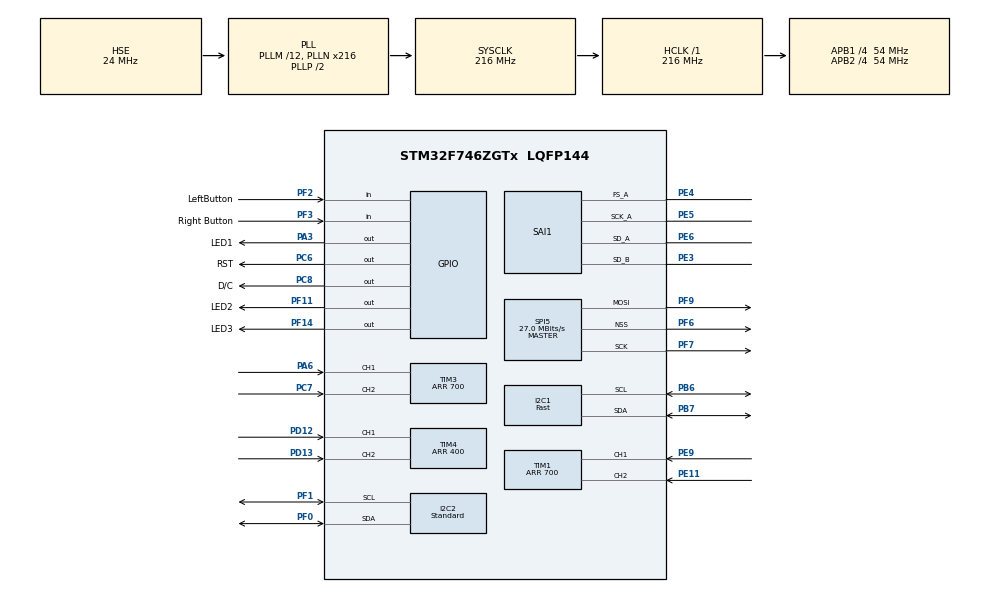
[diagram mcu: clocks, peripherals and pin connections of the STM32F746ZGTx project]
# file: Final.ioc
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Dma.Request0=SPI5_TX
Dma.Request1=SAI1_A
Dma.Request2=SAI1_B
Dma.SAI1_A.1.Direction=DMA_PERIPH_TO_MEMORY
Dma.SAI1_A.1.FIFOMode=DMA_FIFOMODE_DISABLE
Dma.SAI1_A.1.Instance=DMA2_Stream1
Dma.SAI1_A.1.MemDataAlignment=DMA_MDATAALIGN_HALFWORD
Dma.SAI1_A.1.MemInc=DMA_MINC_ENABLE
Dma.SAI1_A.1.Mode=DMA_CIRCULAR
Dma.SAI1_A.1.PeriphDataAlignment=DMA_PDATAALIGN_HALFWORD
Dma.SAI1_A.1.PeriphInc=DMA_PINC_DISABLE
Dma.SAI1_A.1.Priority=DMA_PRIORITY_VERY_HIGH
Dma.SAI1_B.2.Direction=DMA_MEMORY_TO_PERIPH
Dma.SAI1_B.2.FIFOMode=DMA_FIFOMODE_DISABLE
Dma.SAI1_B.2.Instance=DMA2_Stream5
Dma.SAI1_B.2.MemDataAlignment=DMA_MDATAALIGN_HALFWORD
Dma.SAI1_B.2.MemInc=DMA_MINC_ENABLE
Dma.SAI1_B.2.Mode=DMA_CIRCULAR
Dma.SAI1_B.2.PeriphDataAlignment=DMA_PDATAALIGN_HALFWORD
Dma.SAI1_B.2.PeriphInc=DMA_PINC_DISABLE
Dma.SAI1_B.2.Priority=DMA_PRIORITY_VERY_HIGH
Dma.SPI5_TX.0.Direction=DMA_MEMORY_TO_PERIPH
Dma.SPI5_TX.0.FIFOMode=DMA_FIFOMODE_ENABLE
Dma.SPI5_TX.0.FIFOThreshold=DMA_FIFO_THRESHOLD_FULL
Dma.SPI5_TX.0.Instance=DMA2_Stream4
Dma.SPI5_TX.0.MemBurst=DMA_MBURST_SINGLE
Dma.SPI5_TX.0.MemDataAlignment=DMA_MDATAALIGN_BYTE
Dma.SPI5_TX.0.MemInc=DMA_MINC_ENABLE
Dma.SPI5_TX.0.Mode=DMA_NORMAL
Dma.SPI5_TX.0.PeriphBurst=DMA_PBURST_SINGLE
Dma.SPI5_TX.0.PeriphDataAlignment=DMA_PDATAALIGN_BYTE
Dma.SPI5_TX.0.PeriphInc=DMA_PINC_DISABLE
Dma.SPI5_TX.0.Priority=DMA_PRIORITY_LOW
I2C1.I2C_Speed_Mode=I2C_Fast
I2C1.Timing=0x6000030D
I2C2.I2C_Speed_Mode=I2C_Standard
I2C2.Speed=100
I2C2.Timing=0x20404768
Mcu.Family=STM32F7
Mcu.Name=STM32F746ZGTx
Mcu.Package=LQFP144
NVIC.DMA2_Stream1_IRQn=true\:0\:0\:false\:false\:true\:false\:true\:true
NVIC.DMA2_Stream4_IRQn=true\:0\:0\:false\:false\:true\:false\:true\:true
NVIC.DMA2_Stream5_IRQn=true\:0\:0\:false\:false\:true\:false\:true\:true
NVIC.PriorityGroup=NVIC_PRIORITYGROUP_4
NVIC.RCC_IRQn=true\:0\:0\:false\:false\:true\:true\:false\:true
NVIC.TIM2_IRQn=true\:0\:0\:false\:false\:true\:true\:true\:true
NVIC.TIM8_TRG_COM_TIM14_IRQn=true\:0\:0\:false\:false\:true\:true\:true\:true
PA13.Mode=Serial_Wire
PA13.Signal=SYS_JTMS-SWDIO
PA14.Mode=Serial_Wire
PA14.Signal=SYS_JTCK-SWCLK
PA3.GPIO_Label=LED1
PA3.Signal=GPIO_Output
PA6.Signal=S_TIM3_CH1
PB6.GPIO_Pu=GPIO_PULLUP
PB6.Mode=I2C
PB6.Signal=I2C1_SCL
PB7.GPIO_Pu=GPIO_PULLUP
PB7.Mode=I2C
PB7.Signal=I2C1_SDA
PC3.Signal=SPI2_MOSI
PC6.GPIO_Label=RST
PC6.Signal=GPIO_Output
PC7.Signal=S_TIM3_CH2
PC8.GPIO_Label=D/C
PC8.Signal=GPIO_Output
PD12.Signal=S_TIM4_CH1
PD13.Signal=S_TIM4_CH2
PE11.Signal=S_TIM1_CH2
PE3.Mode=SAI_B_SyncSlave
PE3.Signal=SAI1_SD_B
PE4.Mode=SAI_A_AsyncSlave
PE4.Signal=SAI1_FS_A
PE5.Mode=SAI_A_AsyncSlave
PE5.Signal=SAI1_SCK_A
PE6.Mode=SAI_A_AsyncSlave
PE6.Signal=SAI1_SD_A
PE9.Signal=S_TIM1_CH1
PF0.GPIO_Pu=GPIO_NOPULL
PF0.Mode=I2C
PF0.Signal=I2C2_SDA
PF1.GPIO_Pu=GPIO_NOPULL
PF1.Mode=I2C
PF1.Signal=I2C2_SCL
PF11.GPIO_Label=LED2
PF11.Signal=GPIO_Output
PF14.GPIO_Label=LED3
PF14.Signal=GPIO_Output
PF2.GPIO_Label=LeftButton
PF2.Signal=GPIO_Input
PF3.GPIO_Label=Right Button
PF3.Signal=GPIO_Input
PF6.Mode=NSS_Signal_Hard_Output
PF6.Signal=SPI5_NSS
PF7.Mode=TX_Only_Simplex_Unidirect_Master
PF7.Signal=SPI5_SCK
PF9.Mode=TX_Only_Simplex_Unidirect_Master
PF9.Signal=SPI5_MOSI
PH0/OSC_IN.Mode=HSE-External-Oscillator
PH0/OSC_IN.Signal=RCC_OSC_IN
PH1/OSC_OUT.Mode=HSE-External-Oscillator
PH1/OSC_OUT.Signal=RCC_OSC_OUT
ProjectManager.HeapSize=0x2000
ProjectManager.StackSize=0x4000
ProjectManager.TargetToolchain=STM32CubeIDE
RCC.AHBFreq_Value=216000000
RCC.APB1CLKDivider=RCC_HCLK_DIV4
RCC.APB1Freq_Value=54000000
RCC.APB1TimFreq_Value=108000000
RCC.APB2CLKDivider=RCC_HCLK_DIV4
RCC.APB2Freq_Value=54000000
RCC.APB2TimFreq_Value=108000000
RCC.CortexFreq_Value=216000000
RCC.EnbaleCSS=true
RCC.HCLKFreq_Value=216000000
RCC.HSE_VALUE=24000000
RCC.HSI_VALUE=16000000
RCC.LSE_VALUE=32768
RCC.PLLM=12
RCC.PLLN=216
RCC.PLLSAIN=98
RCC.PLLSourceVirtual=RCC_PLLSOURCE_HSE
RCC.SYSCLKFreq_VALUE=216000000
RCC.SYSCLKSource=RCC_SYSCLKSOURCE_PLLCLK
RCC.USBFreq_Value=216000000
RCC.VCOOutputFreq_Value=432000000
SAI1.AudioMode-SAI_B_SyncSlave=SAI_MODESLAVE_TX
SAI1.InitProtocol-SAI_A_AsyncSlave=Enable
SAI1.InitProtocol-SAI_B_SyncSlave=Enable
SAI1.Instance-SAI_A_AsyncSlave=SAI$Index_Block_A
SAI1.Instance-SAI_B_SyncSlave=SAI$Index_Block_B
SAI1.VirtualMode-SAI_A_AsyncSlave=VM_SLAVE
SAI1.VirtualMode-SAI_B_SyncSlave=VM_SLAVE
SAI1.VirtualProtocol-SAI_A_BASIC=VM_BASIC_PROTOCOL
SAI1.VirtualProtocol-SAI_B_BASIC=VM_BASIC_PROTOCOL
SH.S_TIM1_CH1.0=TIM1_CH1,Encoder_Interface
SH.S_TIM1_CH2.0=TIM1_CH2,Encoder_Interface
SH.S_TIM3_CH1.0=TIM3_CH1,Encoder_Interface
SH.S_TIM3_CH2.0=TIM3_CH2,Encoder_Interface
SH.S_TIM4_CH1.0=TIM4_CH1,Encoder_Interface
SH.S_TIM4_CH2.0=TIM4_CH2,Encoder_Interface
SPI5.BaudRatePrescaler=SPI_BAUDRATEPRESCALER_2
SPI5.CalculateBaudRate=27.0 MBits/s
SPI5.DataSize=SPI_DATASIZE_8BIT
SPI5.Direction=SPI_DIRECTION_2LINES
SPI5.Mode=SPI_MODE_MASTER
SPI5.VirtualNSS=VM_NSSHARD
SPI5.VirtualType=VM_MASTER
STMicroelectronics.X-CUBE-TOUCHGFX.4.23.0.ApplicationCcGraphicsJjApplication=TouchGFXOoGenerator
STMicroelectronics.X-CUBE-TOUCHGFX.4.23.0.tgfx_buffering_strategy=Partial
STMicroelectronics.X-CUBE-TOUCHGFX.4.23.0.tgfx_custom_height=240
STMicroelectronics.X-CUBE-TOUCHGFX.4.23.0.tgfx_custom_width=320
STMicroelectronics.X-CUBE-TOUCHGFX.4.23.0_IsPackSelfContextualization=true
TIM1.AutoReloadPreload=TIM_AUTORELOAD_PRELOAD_ENABLE
TIM1.CounterMode=TIM_COUNTERMODE_UP
TIM1.EncoderMode=TIM_ENCODERMODE_TI12
TIM1.IC1Filter=10
TIM1.IC2Filter=10
TIM1.Period=700
TIM14.AutoReloadPreload=TIM_AUTORELOAD_PRELOAD_ENABLE
TIM14.Period=2000
TIM2.CounterMode=TIM_COUNTERMODE_UP
TIM2.Period=16667-1
TIM2.Prescaler=216-1
TIM3.AutoReloadPreload=TIM_AUTORELOAD_PRELOAD_ENABLE
TIM3.CounterMode=TIM_COUNTERMODE_UP
TIM3.EncoderMode=TIM_ENCODERMODE_TI12
TIM3.IC1Filter=10
TIM3.IC2Filter=10
TIM3.Period=700
TIM4.AutoReloadPreload=TIM_AUTORELOAD_PRELOAD_ENABLE
TIM4.CounterMode=TIM_COUNTERMODE_UP
TIM4.EncoderMode=TIM_ENCODERMODE_TI12
TIM4.IC1Filter=10
TIM4.IC2Filter=10
TIM4.Period=400
VP_CRC_VS_CRC.Mode=CRC_Activate
VP_SAI1_VP_$IpInstance_SAIA_SAI_BASIC.Mode=SAI_A_BASIC
VP_SAI1_VP_$IpInstance_SAIB_SAI_BASIC.Mode=SAI_B_BASIC
VP_STMicroelectronics.X-CUBE-TOUCHGFX_VS_GraphicsJjApplication_4.23.0.Mode=GraphicsJjApplication
VP_TIM14_VS_ClockSourceINT.Mode=Enable_Timer
VP_TIM2_VS_ClockSourceINT.Mode=Internal
board=custom

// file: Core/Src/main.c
/* USER CODE BEGIN Header */
/**
  ******************************************************************************
  * @file           : main.c
  * @brief          : Main program body
  ******************************************************************************
  * @attention
  *
  * Copyright (c) 2024 STMicroelectronics.
  * All rights reserved.
  *
  * This software is licensed under terms that can be found in the LICENSE file
  * in the root directory of this software component.
  * If no LICENSE file comes with this software, it is provided AS-IS.
  *
  ******************************************************************************
  */
/* USER CODE END Header */
#include "main.h"
#include "app_touchgfx.h"

/* USER CODE BEGIN Includes */
#include "wm8731.h"
#include "stdio.h"
#include "audioFX.h"
#include "filters.h"
#include "delay.h"
#include "distort.h"
#include "ili9341.h"
#include "trig_functions.h"
/* USER CODE END Includes */

CRC_HandleTypeDef hcrc;

I2C_HandleTypeDef hi2c1;
I2C_HandleTypeDef hi2c2;

SAI_HandleTypeDef hsai_BlockA1;
SAI_HandleTypeDef hsai_BlockB1;
DMA_HandleTypeDef hdma_sai1_a;
DMA_HandleTypeDef hdma_sai1_b;

SPI_HandleTypeDef hspi5;
DMA_HandleTypeDef hdma_spi5_tx;

TIM_HandleTypeDef htim1;
TIM_HandleTypeDef htim2;
TIM_HandleTypeDef htim3;
TIM_HandleTypeDef htim4;
TIM_HandleTypeDef htim14;

/* USER CODE BEGIN PV */
int select = 0; //LED Select
int state[2] = {0, 0}; //States for LR Buttons
int tDelay[3] = {50,50,50}; //Delays from Counters
int ConfLvl[2] = {0,0};
int ConfT = 750;

// DMA buffers
int16_t audio_in[AUDIOFX_BUFF_SIZE];
int16_t audio_out[AUDIOFX_BUFF_SIZE];

int16_t* p_in_buff;
int16_t* p_out_buff;

// change fx flag
uint8_t change_fx_flag;

// parameter change variables
uint16_t timer_count[3];

FILTERS_Params f_p0;
FILTERS_Params f_p1;
FILTERS_Params f_p2;
FILTERS_Params f_p3;
FILTERS_Params f_p4;

DELAY_Params dl_p;

DISTORT_Params ds_p;

AUDIOFX_Type curr_fx;

uint8_t update_flags;
/* USER CODE END PV */

void SystemClock_Config(void);
void PeriphCommonClock_Config(void);
static void MX_GPIO_Init(void);
static void MX_DMA_Init(void);
static void MX_TIM14_Init(void);
static void MX_TIM3_Init(void);
static void MX_TIM4_Init(void);
static void MX_CRC_Init(void);
static void MX_TIM1_Init(void);
static void MX_TIM2_Init(void);
static void MX_I2C1_Init(void);
static void MX_SPI5_Init(void);
static void MX_I2C2_Init(void);
static void MX_SAI1_Init(void);
/* USER CODE BEGIN PFP */

int _write(int file, char *ptr, int len)
{
  /* Implement your write code here. This is
     used by puts and printf for example */
  int i=0;
  for(i=0 ; i<len ; i++)
    ITM_SendChar((*ptr++));
  return len;
}

/* USER CODE END PFP */

/* USER CODE BEGIN 0 */
void HAL_SAI_RxHalfCpltCallback(SAI_HandleTypeDef *hsai) {
	if(hsai->Instance == SAI1_Block_A){
		p_in_buff	= &audio_in[0];
		p_out_buff 	= &audio_out[0];

		AUDIOFX_Apply_FX_Chain();
	}
}

void HAL_SAI_RxCpltCallback(SAI_HandleTypeDef *hsai) {
	if(hsai->Instance == SAI1_Block_A){
		p_in_buff	= &audio_in[AUDIOFX_BUFF_SIZE/2];
		p_out_buff 	= &audio_out[AUDIOFX_BUFF_SIZE/2];

		AUDIOFX_Apply_FX_Chain();
	}
}

static void Param_Change(){
	// Check that counter is in the accepted range
	if(TIM1->CNT > AUDIOFX_CNTR_MAX) {
		TIM1->CNT = AUDIOFX_CNTR_MAX;
	}
	else if(TIM1->CNT < AUDIOFX_CNTR_MIN) {
		TIM1->CNT = AUDIOFX_CNTR_MIN;
	}

	if(TIM3->CNT > AUDIOFX_CNTR_MAX) {
		TIM3->CNT = AUDIOFX_CNTR_MAX;
	}
	else if(TIM3->CNT < AUDIOFX_CNTR_MIN) {
		TIM3->CNT = AUDIOFX_CNTR_MIN;
	}

	if(TIM4->CNT > AUDIOFX_CNTR_MAX) {
		TIM4->CNT = AUDIOFX_CNTR_MAX;
	}
	else if(TIM4->CNT < AUDIOFX_CNTR_MIN) {
		TIM4->CNT = AUDIOFX_CNTR_MIN;
	}

	// check for difference in timer values
	if(TIM1->CNT != timer_count[0] || TIM3->CNT != timer_count[1] || TIM4->CNT != timer_count[2]) {
		// store counter values
		timer_count[0] = TIM1->CNT;
		timer_count[1] = TIM3->CNT;
		timer_count[2] = TIM4->CNT;

		AUDIOFX_SetParams(curr_fx);
	}
}

static void FX_Change() {
	if(HAL_GPIO_ReadPin(GPIOF, GPIO_PIN_2) == 1){
		ConfLvl[0]++;
		if(ConfLvl[0] > ConfT){
			while(HAL_GPIO_ReadPin(GPIOF, GPIO_PIN_2) == 1)
			ConfLvl[0] = 0;
			AUDIOFX_SwitchFX(0);
		}
	}
	if(HAL_GPIO_ReadPin(GPIOF, GPIO_PIN_3) == 1){
		ConfLvl[1]++;
		if(ConfLvl[1] > ConfT){
			while(HAL_GPIO_ReadPin(GPIOF, GPIO_PIN_3) == 1)
			ConfLvl[1] = 0;
			AUDIOFX_SwitchFX(1);
		}
	}

	// check if we changed current FX using touch screen
	if(change_fx_flag) {
		AUDIOFX_UpdateCounters();
		change_fx_flag = 0;
	}
}

/* USER CODE END 0 */

int main(void)
{

  /* MCU Configuration--------------------------------------------------------*/

  /* Reset of all peripherals, Initializes the Flash interface and the Systick. */
  HAL_Init();

  /* Configure the system clock */
  SystemClock_Config();

/* Configure the peripherals common clocks */
  PeriphCommonClock_Config();

  /* Initialize all configured peripherals */
  MX_GPIO_Init();
  MX_DMA_Init();
  MX_TIM14_Init();
  MX_TIM3_Init();
  MX_TIM4_Init();
  MX_CRC_Init();
  MX_TIM1_Init();
  MX_TIM2_Init();
  MX_I2C1_Init();
  MX_SPI5_Init();
  MX_I2C2_Init();
  MX_SAI1_Init();
  MX_TouchGFX_Init();
  /* USER CODE BEGIN 2 */

  update_flags 	= 0;
  curr_fx 	  	= AUDIOFX_FILTER0;

  FILTERS_Init(&f_p0);
  FILTERS_Init(&f_p1);
  FILTERS_Init(&f_p2);
  FILTERS_Init(&f_p3);
  FILTERS_Init(&f_p4);

  DELAY_Init(&dl_p);
  DISTORT_Init(&ds_p);

  ILI9341_Init();
  WM8731_Init();

//  HAL_GPIO_TogglePin(GPIOF, GPIO_PIN_11);

  HAL_SAI_Receive_DMA(&hsai_BlockA1, (uint8_t*) audio_in, AUDIOFX_BUFF_SIZE);
  HAL_SAI_Transmit_DMA(&hsai_BlockB1, (uint8_t*) audio_out, AUDIOFX_BUFF_SIZE);

  HAL_TIM_Base_Start_IT(&htim2);

  HAL_TIM_Encoder_Start(&htim1, TIM_CHANNEL_ALL);
  HAL_TIM_Encoder_Start(&htim3, TIM_CHANNEL_ALL);
  HAL_TIM_Encoder_Start(&htim4, TIM_CHANNEL_ALL);

  AUDIOFX_UpdateCounters();
  /* USER CODE END 2 */

  /* Infinite loop */
  while (1)
  {

  MX_TouchGFX_Process();
    /* USER CODE BEGIN 3 */
  FX_Change();
  Param_Change();
  }
  /* USER CODE END 3 */
}

void SystemClock_Config(void)
{
  RCC_OscInitTypeDef RCC_OscInitStruct = {0};
  RCC_ClkInitTypeDef RCC_ClkInitStruct = {0};

  /** Configure the main internal regulator output voltage
  */
  __HAL_RCC_PWR_CLK_ENABLE();
  __HAL_PWR_VOLTAGESCALING_CONFIG(PWR_REGULATOR_VOLTAGE_SCALE1);

  /** Initializes the RCC Oscillators according to the specified parameters
  * in the RCC_OscInitTypeDef structure.
  */
  RCC_OscInitStruct.OscillatorType = RCC_OSCILLATORTYPE_HSE;
  RCC_OscInitStruct.HSEState = RCC_HSE_ON;
  RCC_OscInitStruct.PLL.PLLState = RCC_PLL_ON;
  RCC_OscInitStruct.PLL.PLLSource = RCC_PLLSOURCE_HSE;
  RCC_OscInitStruct.PLL.PLLM = 12;
  RCC_OscInitStruct.PLL.PLLN = 216;
  RCC_OscInitStruct.PLL.PLLP = RCC_PLLP_DIV2;
  RCC_OscInitStruct.PLL.PLLQ = 2;
  if (HAL_RCC_OscConfig(&RCC_OscInitStruct) != HAL_OK)
  {
    Error_Handler();
  }

  /** Activate the Over-Drive mode
  */
  if (HAL_PWREx_EnableOverDrive() != HAL_OK)
  {
    Error_Handler();
  }

  /** Initializes the CPU, AHB and APB buses clocks
  */
  RCC_ClkInitStruct.ClockType = RCC_CLOCKTYPE_HCLK|RCC_CLOCKTYPE_SYSCLK
                              |RCC_CLOCKTYPE_PCLK1|RCC_CLOCKTYPE_PCLK2;
  RCC_ClkInitStruct.SYSCLKSource = RCC_SYSCLKSOURCE_PLLCLK;
  RCC_ClkInitStruct.AHBCLKDivider = RCC_SYSCLK_DIV1;
  RCC_ClkInitStruct.APB1CLKDivider = RCC_HCLK_DIV4;
  RCC_ClkInitStruct.APB2CLKDivider = RCC_HCLK_DIV4;

  if (HAL_RCC_ClockConfig(&RCC_ClkInitStruct, FLASH_LATENCY_7) != HAL_OK)
  {
    Error_Handler();
  }

  /** Enables the Clock Security System
  */
  HAL_RCC_EnableCSS();
}

void PeriphCommonClock_Config(void)
{
  RCC_PeriphCLKInitTypeDef PeriphClkInitStruct = {0};

  /** Initializes the peripherals clock
  */
  PeriphClkInitStruct.PeriphClockSelection = RCC_PERIPHCLK_SAI1;
  PeriphClkInitStruct.PLLSAI.PLLSAIN = 98;
  PeriphClkInitStruct.PLLSAI.PLLSAIR = 2;
  PeriphClkInitStruct.PLLSAI.PLLSAIQ = 2;
  PeriphClkInitStruct.PLLSAI.PLLSAIP = RCC_PLLSAIP_DIV2;
  PeriphClkInitStruct.PLLSAIDivQ = 1;
  PeriphClkInitStruct.PLLSAIDivR = RCC_PLLSAIDIVR_2;
  PeriphClkInitStruct.Sai1ClockSelection = RCC_SAI1CLKSOURCE_PLLSAI;
  if (HAL_RCCEx_PeriphCLKConfig(&PeriphClkInitStruct) != HAL_OK)
  {
    Error_Handler();
  }
}

static void MX_CRC_Init(void)
{

  hcrc.Instance = CRC;
  hcrc.Init.DefaultPolynomialUse = DEFAULT_POLYNOMIAL_ENABLE;
  hcrc.Init.DefaultInitValueUse = DEFAULT_INIT_VALUE_ENABLE;
  hcrc.Init.InputDataInversionMode = CRC_INPUTDATA_INVERSION_NONE;
  hcrc.Init.OutputDataInversionMode = CRC_OUTPUTDATA_INVERSION_DISABLE;
  hcrc.InputDataFormat = CRC_INPUTDATA_FORMAT_BYTES;
  if (HAL_CRC_Init(&hcrc) != HAL_OK)
  {
    Error_Handler();
  }

}

static void MX_I2C1_Init(void)
{

  hi2c1.Instance = I2C1;
  hi2c1.Init.Timing = 0x6000030D;
  hi2c1.Init.OwnAddress1 = 0;
  hi2c1.Init.AddressingMode = I2C_ADDRESSINGMODE_7BIT;
  hi2c1.Init.DualAddressMode = I2C_DUALADDRESS_DISABLE;
  hi2c1.Init.OwnAddress2 = 0;
  hi2c1.Init.OwnAddress2Masks = I2C_OA2_NOMASK;
  hi2c1.Init.GeneralCallMode = I2C_GENERALCALL_DISABLE;
  hi2c1.Init.NoStretchMode = I2C_NOSTRETCH_DISABLE;
  if (HAL_I2C_Init(&hi2c1) != HAL_OK)
  {
    Error_Handler();
  }

  /** Configure Analogue filter
  */
  if (HAL_I2CEx_ConfigAnalogFilter(&hi2c1, I2C_ANALOGFILTER_ENABLE) != HAL_OK)
  {
    Error_Handler();
  }

  /** Configure Digital filter
  */
  if (HAL_I2CEx_ConfigDigitalFilter(&hi2c1, 0) != HAL_OK)
  {
    Error_Handler();
  }

}

static void MX_I2C2_Init(void)
{

  hi2c2.Instance = I2C2;
  hi2c2.Init.Timing = 0x20404768;
  hi2c2.Init.OwnAddress1 = 0;
  hi2c2.Init.AddressingMode = I2C_ADDRESSINGMODE_7BIT;
  hi2c2.Init.DualAddressMode = I2C_DUALADDRESS_DISABLE;
  hi2c2.Init.OwnAddress2 = 0;
  hi2c2.Init.OwnAddress2Masks = I2C_OA2_NOMASK;
  hi2c2.Init.GeneralCallMode = I2C_GENERALCALL_DISABLE;
  hi2c2.Init.NoStretchMode = I2C_NOSTRETCH_DISABLE;
  if (HAL_I2C_Init(&hi2c2) != HAL_OK)
  {
    Error_Handler();
  }

  /** Configure Analogue filter
  */
  if (HAL_I2CEx_ConfigAnalogFilter(&hi2c2, I2C_ANALOGFILTER_ENABLE) != HAL_OK)
  {
    Error_Handler();
  }

  /** Configure Digital filter
  */
  if (HAL_I2CEx_ConfigDigitalFilter(&hi2c2, 0) != HAL_OK)
  {
    Error_Handler();
  }

}

static void MX_SAI1_Init(void)
{

  hsai_BlockA1.Instance = SAI1_Block_A;
  hsai_BlockA1.Init.AudioMode = SAI_MODESLAVE_RX;
  hsai_BlockA1.Init.Synchro = SAI_ASYNCHRONOUS;
  hsai_BlockA1.Init.OutputDrive = SAI_OUTPUTDRIVE_DISABLE;
  hsai_BlockA1.Init.FIFOThreshold = SAI_FIFOTHRESHOLD_EMPTY;
  hsai_BlockA1.Init.SynchroExt = SAI_SYNCEXT_DISABLE;
  hsai_BlockA1.Init.MonoStereoMode = SAI_STEREOMODE;
  hsai_BlockA1.Init.CompandingMode = SAI_NOCOMPANDING;
  hsai_BlockA1.Init.TriState = SAI_OUTPUT_NOTRELEASED;
  if (HAL_SAI_InitProtocol(&hsai_BlockA1, SAI_I2S_STANDARD, SAI_PROTOCOL_DATASIZE_16BIT, 2) != HAL_OK)
  {
    Error_Handler();
  }
  hsai_BlockB1.Instance = SAI1_Block_B;
  hsai_BlockB1.Init.AudioMode = SAI_MODESLAVE_TX;
  hsai_BlockB1.Init.Synchro = SAI_SYNCHRONOUS;
  hsai_BlockB1.Init.OutputDrive = SAI_OUTPUTDRIVE_DISABLE;
  hsai_BlockB1.Init.FIFOThreshold = SAI_FIFOTHRESHOLD_EMPTY;
  hsai_BlockB1.Init.SynchroExt = SAI_SYNCEXT_DISABLE;
  hsai_BlockB1.Init.MonoStereoMode = SAI_STEREOMODE;
  hsai_BlockB1.Init.CompandingMode = SAI_NOCOMPANDING;
  hsai_BlockB1.Init.TriState = SAI_OUTPUT_NOTRELEASED;
  if (HAL_SAI_InitProtocol(&hsai_BlockB1, SAI_I2S_STANDARD, SAI_PROTOCOL_DATASIZE_16BIT, 2) != HAL_OK)
  {
    Error_Handler();
  }

}

static void MX_SPI5_Init(void)
{

  /* SPI5 parameter configuration*/
  hspi5.Instance = SPI5;
  hspi5.Init.Mode = SPI_MODE_MASTER;
  hspi5.Init.Direction = SPI_DIRECTION_2LINES;
  hspi5.Init.DataSize = SPI_DATASIZE_8BIT;
  hspi5.Init.CLKPolarity = SPI_POLARITY_LOW;
  hspi5.Init.CLKPhase = SPI_PHASE_1EDGE;
  hspi5.Init.NSS = SPI_NSS_HARD_OUTPUT;
  hspi5.Init.BaudRatePrescaler = SPI_BAUDRATEPRESCALER_2;
  hspi5.Init.FirstBit = SPI_FIRSTBIT_MSB;
  hspi5.Init.TIMode = SPI_TIMODE_DISABLE;
  hspi5.Init.CRCCalculation = SPI_CRCCALCULATION_DISABLE;
  hspi5.Init.CRCPolynomial = 7;
  hspi5.Init.CRCLength = SPI_CRC_LENGTH_DATASIZE;
  hspi5.Init.NSSPMode = SPI_NSS_PULSE_ENABLE;
  if (HAL_SPI_Init(&hspi5) != HAL_OK)
  {
    Error_Handler();
  }

}

static void MX_TIM1_Init(void)
{

  TIM_Encoder_InitTypeDef sConfig = {0};
  TIM_MasterConfigTypeDef sMasterConfig = {0};

  htim1.Instance = TIM1;
  htim1.Init.Prescaler = 0;
  htim1.Init.CounterMode = TIM_COUNTERMODE_UP;
  htim1.Init.Period = 600;
  htim1.Init.ClockDivision = TIM_CLOCKDIVISION_DIV1;
  htim1.Init.RepetitionCounter = 0;
  htim1.Init.AutoReloadPreload = TIM_AUTORELOAD_PRELOAD_ENABLE;
  sConfig.EncoderMode = TIM_ENCODERMODE_TI12;
  sConfig.IC1Polarity = TIM_ICPOLARITY_RISING;
  sConfig.IC1Selection = TIM_ICSELECTION_DIRECTTI;
  sConfig.IC1Prescaler = TIM_ICPSC_DIV1;
  sConfig.IC1Filter = 10;
  sConfig.IC2Polarity = TIM_ICPOLARITY_FALLING;
  sConfig.IC2Selection = TIM_ICSELECTION_DIRECTTI;
  sConfig.IC2Prescaler = TIM_ICPSC_DIV1;
  sConfig.IC2Filter = 10;
  if (HAL_TIM_Encoder_Init(&htim1, &sConfig) != HAL_OK)
  {
    Error_Handler();
  }
  sMasterConfig.MasterOutputTrigger = TIM_TRGO_RESET;
  sMasterConfig.MasterOutputTrigger2 = TIM_TRGO2_RESET;
  sMasterConfig.MasterSlaveMode = TIM_MASTERSLAVEMODE_DISABLE;
  if (HAL_TIMEx_MasterConfigSynchronization(&htim1, &sMasterConfig) != HAL_OK)
  {
    Error_Handler();
  }

}

static void MX_TIM2_Init(void)
{

  TIM_ClockConfigTypeDef sClockSourceConfig = {0};
  TIM_MasterConfigTypeDef sMasterConfig = {0};

  htim2.Instance = TIM2;
  htim2.Init.Prescaler = 216-1;
  htim2.Init.CounterMode = TIM_COUNTERMODE_UP;
  htim2.Init.Period = 16667-1;
  htim2.Init.ClockDivision = TIM_CLOCKDIVISION_DIV1;
  htim2.Init.AutoReloadPreload = TIM_AUTORELOAD_PRELOAD_DISABLE;
  if (HAL_TIM_Base_Init(&htim2) != HAL_OK)
  {
    Error_Handler();
  }
  sClockSourceConfig.ClockSource = TIM_CLOCKSOURCE_INTERNAL;
  if (HAL_TIM_ConfigClockSource(&htim2, &sClockSourceConfig) != HAL_OK)
  {
    Error_Handler();
  }
  sMasterConfig.MasterOutputTrigger = TIM_TRGO_RESET;
  sMasterConfig.MasterSlaveMode = TIM_MASTERSLAVEMODE_DISABLE;
  if (HAL_TIMEx_MasterConfigSynchronization(&htim2, &sMasterConfig) != HAL_OK)
  {
    Error_Handler();
  }

}

static void MX_TIM3_Init(void)
{

  TIM_Encoder_InitTypeDef sConfig = {0};
  TIM_MasterConfigTypeDef sMasterConfig = {0};

  htim3.Instance = TIM3;
  htim3.Init.Prescaler = 0;
  htim3.Init.CounterMode = TIM_COUNTERMODE_UP;
  htim3.Init.Period = 600;
  htim3.Init.ClockDivision = TIM_CLOCKDIVISION_DIV1;
  htim3.Init.AutoReloadPreload = TIM_AUTORELOAD_PRELOAD_ENABLE;
  sConfig.EncoderMode = TIM_ENCODERMODE_TI12;
  sConfig.IC1Polarity = TIM_ICPOLARITY_RISING;
  sConfig.IC1Selection = TIM_ICSELECTION_DIRECTTI;
  sConfig.IC1Prescaler = TIM_ICPSC_DIV1;
  sConfig.IC1Filter = 10;
  sConfig.IC2Polarity = TIM_ICPOLARITY_RISING;
  sConfig.IC2Selection = TIM_ICSELECTION_DIRECTTI;
  sConfig.IC2Prescaler = TIM_ICPSC_DIV1;
  sConfig.IC2Filter = 10;
  if (HAL_TIM_Encoder_Init(&htim3, &sConfig) != HAL_OK)
  {
    Error_Handler();
  }
  sMasterConfig.MasterOutputTrigger = TIM_TRGO_RESET;
  sMasterConfig.MasterSlaveMode = TIM_MASTERSLAVEMODE_DISABLE;
  if (HAL_TIMEx_MasterConfigSynchronization(&htim3, &sMasterConfig) != HAL_OK)
  {
    Error_Handler();
  }

}

static void MX_TIM4_Init(void)
{

  TIM_Encoder_InitTypeDef sConfig = {0};
  TIM_MasterConfigTypeDef sMasterConfig = {0};

  htim4.Instance = TIM4;
  htim4.Init.Prescaler = 0;
  htim4.Init.CounterMode = TIM_COUNTERMODE_UP;
  htim4.Init.Period = 600;
  htim4.Init.ClockDivision = TIM_CLOCKDIVISION_DIV1;
  htim4.Init.AutoReloadPreload = TIM_AUTORELOAD_PRELOAD_ENABLE;
  sConfig.EncoderMode = TIM_ENCODERMODE_TI12;
  sConfig.IC1Polarity = TIM_ICPOLARITY_RISING;
  sConfig.IC1Selection = TIM_ICSELECTION_DIRECTTI;
  sConfig.IC1Prescaler = TIM_ICPSC_DIV1;
  sConfig.IC1Filter = 10;
  sConfig.IC2Polarity = TIM_ICPOLARITY_FALLING;
  sConfig.IC2Selection = TIM_ICSELECTION_DIRECTTI;
  sConfig.IC2Prescaler = TIM_ICPSC_DIV1;
  sConfig.IC2Filter = 10;
  if (HAL_TIM_Encoder_Init(&htim4, &sConfig) != HAL_OK)
  {
    Error_Handler();
  }
  sMasterConfig.MasterOutputTrigger = TIM_TRGO_RESET;
  sMasterConfig.MasterSlaveMode = TIM_MASTERSLAVEMODE_DISABLE;
  if (HAL_TIMEx_MasterConfigSynchronization(&htim4, &sMasterConfig) != HAL_OK)
  {
    Error_Handler();
  }

}

static void MX_TIM14_Init(void)
{

  htim14.Instance = TIM14;
  htim14.Init.Prescaler = 0;
  htim14.Init.CounterMode = TIM_COUNTERMODE_UP;
  htim14.Init.Period = 2000;
  htim14.Init.ClockDivision = TIM_CLOCKDIVISION_DIV1;
  htim14.Init.AutoReloadPreload = TIM_AUTORELOAD_PRELOAD_ENABLE;
  if (HAL_TIM_Base_Init(&htim14) != HAL_OK)
  {
    Error_Handler();
  }

}

static void MX_DMA_Init(void)
{

  /* DMA controller clock enable */
  __HAL_RCC_DMA2_CLK_ENABLE();

  /* DMA interrupt init */
  /* DMA2_Stream1_IRQn interrupt configuration */
  HAL_NVIC_SetPriority(DMA2_Stream1_IRQn, 0, 0);
  HAL_NVIC_EnableIRQ(DMA2_Stream1_IRQn);
  /* DMA2_Stream4_IRQn interrupt configuration */
  HAL_NVIC_SetPriority(DMA2_Stream4_IRQn, 0, 0);
  HAL_NVIC_EnableIRQ(DMA2_Stream4_IRQn);
  /* DMA2_Stream5_IRQn interrupt configuration */
  HAL_NVIC_SetPriority(DMA2_Stream5_IRQn, 0, 0);
  HAL_NVIC_EnableIRQ(DMA2_Stream5_IRQn);

}

static void MX_GPIO_Init(void)
{
  GPIO_InitTypeDef GPIO_InitStruct = {0};

  /* GPIO Ports Clock Enable */
  __HAL_RCC_GPIOE_CLK_ENABLE();
  __HAL_RCC_GPIOF_CLK_ENABLE();
  __HAL_RCC_GPIOH_CLK_ENABLE();
  __HAL_RCC_GPIOC_CLK_ENABLE();
  __HAL_RCC_GPIOA_CLK_ENABLE();
  __HAL_RCC_GPIOD_CLK_ENABLE();
  __HAL_RCC_GPIOB_CLK_ENABLE();

  /*Configure GPIO pin Output Level */
  HAL_GPIO_WritePin(LED1_GPIO_Port, LED1_Pin, GPIO_PIN_RESET);

  /*Configure GPIO pin Output Level */
  HAL_GPIO_WritePin(GPIOF, LED2_Pin|LED3_Pin, GPIO_PIN_RESET);

  /*Configure GPIO pin Output Level */
  HAL_GPIO_WritePin(GPIOC, RST_Pin|D_C_Pin, GPIO_PIN_RESET);

  /*Configure GPIO pins : LeftButton_Pin Right_Button_Pin */
  GPIO_InitStruct.Pin = LeftButton_Pin|Right_Button_Pin;
  GPIO_InitStruct.Mode = GPIO_MODE_INPUT;
  GPIO_InitStruct.Pull = GPIO_NOPULL;
  HAL_GPIO_Init(GPIOF, &GPIO_InitStruct);

  /*Configure GPIO pin : PC3 */
  GPIO_InitStruct.Pin = GPIO_PIN_3;
  GPIO_InitStruct.Mode = GPIO_MODE_AF_PP;
  GPIO_InitStruct.Pull = GPIO_NOPULL;
  GPIO_InitStruct.Speed = GPIO_SPEED_FREQ_VERY_HIGH;
  GPIO_InitStruct.Alternate = GPIO_AF5_SPI2;
  HAL_GPIO_Init(GPIOC, &GPIO_InitStruct);

  /*Configure GPIO pin : LED1_Pin */
  GPIO_InitStruct.Pin = LED1_Pin;
  GPIO_InitStruct.Mode = GPIO_MODE_OUTPUT_PP;
  GPIO_InitStruct.Pull = GPIO_NOPULL;
  GPIO_InitStruct.Speed = GPIO_SPEED_FREQ_LOW;
  HAL_GPIO_Init(LED1_GPIO_Port, &GPIO_InitStruct);

  /*Configure GPIO pins : LED2_Pin LED3_Pin */
  GPIO_InitStruct.Pin = LED2_Pin|LED3_Pin;
  GPIO_InitStruct.Mode = GPIO_MODE_OUTPUT_PP;
  GPIO_InitStruct.Pull = GPIO_NOPULL;
  GPIO_InitStruct.Speed = GPIO_SPEED_FREQ_LOW;
  HAL_GPIO_Init(GPIOF, &GPIO_InitStruct);

  /*Configure GPIO pins : RST_Pin D_C_Pin */
  GPIO_InitStruct.Pin = RST_Pin|D_C_Pin;
  GPIO_InitStruct.Mode = GPIO_MODE_OUTPUT_PP;
  GPIO_InitStruct.Pull = GPIO_NOPULL;
  GPIO_InitStruct.Speed = GPIO_SPEED_FREQ_LOW;
  HAL_GPIO_Init(GPIOC, &GPIO_InitStruct);

}

/* USER CODE BEGIN 4 */
extern void touchgfxSignalVSync(void);

void crement_select(int way){
	if(select == 0 && (way == -1)){select = 2;}
	else if(select == 2 && (way == 1)){select = 0;}
	else select = select + way;
}

void HAL_GPIO_EXTI_Callback(uint16_t GPIO_Pin){
}

void HAL_TIM_PeriodElapsedCallback(TIM_HandleTypeDef *htim){
	if (htim->Instance == TIM2) {
		touchgfxSignalVSync();
	}
}
/* USER CODE END 4 */

void Error_Handler(void)
{
  __disable_irq();
  while (1)
  {
  }
}
